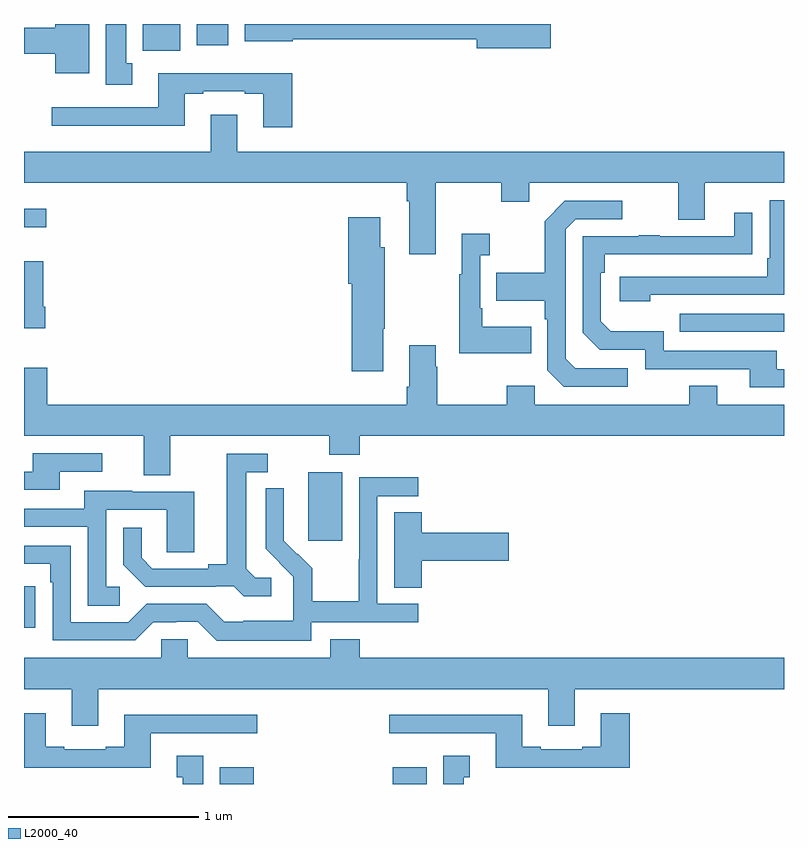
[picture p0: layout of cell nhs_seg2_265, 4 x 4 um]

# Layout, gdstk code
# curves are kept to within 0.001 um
import gdstk
lib = gdstk.Library(unit=1e-6, precision=1e-09)
def R(c, l, rs):  # rectangles x0, y0, x1, y1
    for r in rs: c.add(gdstk.rectangle(r[:2], r[2:], *l))
def P(c, l, *ps):  # polygons
    for p in ps: c.add(gdstk.Polygon(p, *l))
L2000_40 = (2000, 40)

nhs_seg2_265 = lib.new_cell('nhs_seg2_265')
R(nhs_seg2_265, L2000_40, [(124.031,649.8,124.21,649.888), (124.94,649.8,125.119,649.888), (123,650.622,123.059,650.84), (124.496,651.081,124.675,651.442), (126.451,652.179,127,652.275), (123,652.731,123.118,652.828), (123.626,653.66,123.823,653.8), (123.908,653.688,124.075,653.8)])
P(nhs_seg2_265, L2000_40, [(123.571,653.594),(123.538,653.594),(123.538,653.8),(123.431,653.8),(123.431,653.481),(123.571,653.481)],
  [(123.343,653.8),(123.164,653.8),(123.164,653.78),(123,653.78),(123,653.644),(123.164,653.644),(123.164,653.54),(123.343,653.54)],
  [(125.773,653.8),(124.163,653.8),(124.163,653.708),(124.414,653.708),(124.414,653.719),(125.384,653.719),(125.384,653.672),(125.773,653.672)],
  [(124.412,653.542),(123.707,653.542),(123.707,653.361),(123.147,653.361),(123.147,653.264),(123.847,653.264),(123.847,653.433),(123.943,653.433),(123.943,653.445),(124.163,653.445),(124.163,653.433),(124.259,653.433),(124.259,653.256),(124.412,653.256)],
  [(125.167,652.964),(125.512,652.964),(125.512,652.865),(125.659,652.865),(125.659,652.964),(126.443,652.964),(126.443,652.77),(126.583,652.77),(126.583,652.964),(127,652.964),(127,653.128),(124.123,653.128),(124.123,653.323),(123.983,653.323),(123.983,653.128),(123,653.128),(123,652.964),(125.015,652.964),(125.015,652.868),(125.027,652.868),(125.027,652.587),(125.167,652.587)],
  [(126.296,652.374),(127,652.374),(127,652.872),(126.924,652.872),(126.924,652.567),(126.911,652.567),(126.911,652.47),(126.135,652.47),(126.135,652.34),(126.296,652.34)],
  [(126.178,651.987),(125.901,651.987),(125.85,652.038),(125.85,652.719),(125.904,652.773),(126.148,652.773),(126.148,652.869),(125.847,652.869),(125.742,652.763),(125.742,652.491),(125.485,652.491),(125.485,652.343),(125.742,652.343),(125.742,652.247),(125.754,652.247),(125.754,651.978),(125.841,651.891),(126.178,651.891)],
  [(127,651.984),(126.961,651.984),(126.961,652.08),(126.366,652.08),(126.366,652.183),(126.089,652.183),(126.036,652.236),(126.036,652.49),(126.056,652.49),(126.056,652.587),(126.833,652.588),(126.833,652.807),(126.737,652.807),(126.737,652.683),(126.347,652.683),(126.347,652.688),(126.235,652.688),(126.235,652.683),(125.94,652.683),(125.94,652.176),(126.03,652.086),(126.27,652.086),(126.27,651.984),(126.821,651.984),(126.821,651.888),(127,651.888)],
  [(124.891,652.195),(124.899,652.195),(124.899,652.626),(124.876,652.626),(124.876,652.783),(124.706,652.783),(124.706,652.434),(124.724,652.434),(124.724,651.972),(124.891,651.972)],
  [(125.669,652.207),(125.413,652.207),(125.413,652.303),(125.4,652.303),(125.4,652.583),(125.452,652.583),(125.452,652.696),(125.303,652.696),(125.303,652.483),(125.292,652.483),(125.292,652.067),(125.669,652.067)],
  [(123.113,652.312),(123.1,652.312),(123.1,652.552),(123,652.552),(123,652.2),(123.113,652.2)],
  [(123.769,651.632),(124.606,651.632),(124.606,651.533),(124.766,651.533),(124.766,651.632),(127,651.632),(127,651.796),(126.649,651.796),(126.649,651.895),(126.502,651.895),(126.502,651.796),(125.688,651.796),(125.688,651.895),(125.542,651.895),(125.542,651.796),(125.175,651.796),(125.175,651.995),(125.167,651.995),(125.167,652.108),(125.027,652.108),(125.027,651.892),(125.015,651.892),(125.015,651.796),(123.122,651.796),(123.122,651.991),(123,651.991),(123,651.632),(123.629,651.632),(123.629,651.424),(123.769,651.424)],
  [(123.187,651.444),(123.412,651.444),(123.412,651.54),(123.047,651.54),(123.047,651.444),(123,651.444),(123,651.348),(123.187,651.348)],
  [(124.3,650.886),(124.218,650.886),(124.171,650.933),(124.171,651.441),(124.282,651.441),(124.282,651.537),(124.067,651.537),(124.067,650.957),(123.971,650.957),(123.971,650.934),(123.676,650.934),(123.619,650.991),(123.619,651.148),(123.522,651.148),(123.522,650.954),(123.638,650.838),(124.01,650.838),(124.01,650.841),(124.104,650.841),(124.156,650.789),(124.3,650.789)],
  [(124.512,650.652),(125.074,650.652),(125.074,650.748),(124.86,650.748),(124.86,651.315),(125.074,651.315),(125.074,651.414),(124.764,651.414),(124.764,650.984),(124.762,650.984),(124.762,650.761),(124.517,650.761),(124.517,650.935),(124.44,651.012),(124.437,651.009),(124.367,651.08),(124.368,651.356),(124.272,651.356),(124.272,651.038),(124.418,650.89),(124.418,650.793),(124.416,650.793),(124.416,650.659),(124.153,650.659),(124.153,650.655),(124.053,650.655),(123.96,650.748),(123.645,650.748),(123.549,650.652),(123.246,650.652),(123.246,651.054),(123,651.054),(123,650.958),(123.137,650.958),(123.137,650.861),(123.15,650.861),(123.15,650.556),(123.585,650.556),(123.681,650.652),(123.8,650.652),(123.8,650.655),(123.915,650.655),(124.015,650.555),(124.512,650.555)],
  [(123.505,650.838),(123.432,650.838),(123.432,651.243),(123.75,651.243),(123.75,651.019),(123.895,651.019),(123.895,651.339),(123.571,651.339),(123.571,651.343),(123.317,651.343),(123.317,651.249),(123,651.249),(123,651.153),(123.336,651.153),(123.336,650.737),(123.505,650.737)],
  [(125.093,650.975),(125.551,650.975),(125.551,651.122),(125.093,651.122),(125.093,651.23),(124.949,651.23),(124.949,650.833),(125.093,650.833)],
  [(123.391,650.3),(125.759,650.3),(125.759,650.106),(125.899,650.106),(125.899,650.3),(127,650.3),(127,650.464),(124.766,650.464),(124.766,650.563),(124.613,650.563),(124.613,650.464),(123.861,650.464),(123.861,650.562),(123.723,650.562),(123.723,650.464),(123,650.464),(123,650.3),(123.251,650.3),(123.251,650.106),(123.391,650.106)],
  [(126.188,650.173),(126.035,650.173),(126.035,649.996),(125.939,649.996),(125.939,649.983),(125.719,649.983),(125.719,649.996),(125.623,649.996),(125.623,650.164),(124.923,650.164),(124.923,650.067),(125.483,650.067),(125.483,649.886),(126.188,649.886)],
  [(123.667,650.067),(124.228,650.067),(124.228,650.164),(123.527,650.164),(123.527,649.996),(123.431,649.996),(123.431,649.983),(123.211,649.983),(123.211,649.996),(123.115,649.996),(123.115,650.173),(123,650.173),(123,649.886),(123.667,649.886)],
  [(123.943,649.948),(123.803,649.948),(123.803,649.835),(123.836,649.835),(123.836,649.8),(123.943,649.8)],
  [(125.314,649.835),(125.347,649.835),(125.347,649.948),(125.207,649.948),(125.207,649.8),(125.314,649.8)])

lib.write_gds('nhs_seg2_265.gds')
